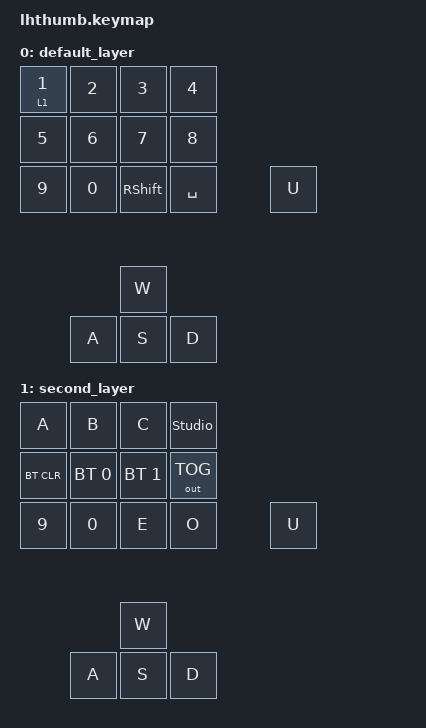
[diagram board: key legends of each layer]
// This file was generated from a template. Edit it to match your keyboard.
// See https://zmk.dev/docs/development/hardware-integration/new-shield for more instructions.

#include <behaviors.dtsi>
#include <dt-bindings/zmk/keys.h>
#include <dt-bindings/zmk/bt.h>
#include <dt-bindings/zmk/outputs.h>
#include <dt-bindings/analog-stick/modes.h>

/ {
    keymap {
        compatible = "zmk,keymap";

        default_layer {
            bindings = <
                &lt 1 N1 &kp N2    &kp N3      &kp N4
                &kp N5   &kp N6    &kp N7      &kp N8
                &kp N9   &kp N0    &kp RSHIFT  &kp SPACE  &kp U
                &kp D    &kp A     &kp W       &kp S
            >;
        };

        second_layer {
            bindings = <
                &kp A       &kp B          &kp C          &studio_unlock
                &bt BT_CLR  &bt BT_SEL 0   &bt BT_SEL 1   &out OUT_TOG
                &kp N9 &kp N0 &kp E  &kp O  &kp U
                &kp D  &kp A  &kp W  &kp S
            >;
        };

        extra1 {
            status = "reserved";
        };

        extra2 {
            status = "reserved";
        };
    };
};
